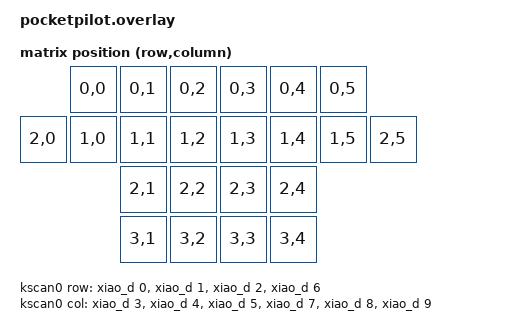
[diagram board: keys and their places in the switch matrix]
#include <dt-bindings/zmk/matrix_transform.h>
#include "pocketpilot-layouts.dtsi"

/ {
    chosen {
        zmk,physical-layout = &pocketpilot_physical_layout;
    };
};

/ {

    kscan0: kscan_matrix {
        compatible = "zmk,kscan-matrix";
        wakeup-source;
        diode-direction = "col2row";
        col-gpios
            = <&xiao_d 3 GPIO_ACTIVE_HIGH> // 0
            , <&xiao_d 4 GPIO_ACTIVE_HIGH> // 1
	    , <&xiao_d 5 GPIO_ACTIVE_HIGH> // 2
	    , <&xiao_d 7 GPIO_ACTIVE_HIGH> // 3
	    , <&xiao_d 8 GPIO_ACTIVE_HIGH> // 4
	    , <&xiao_d 9 GPIO_ACTIVE_HIGH> // 5
            ;
        row-gpios
            = <&xiao_d 0 (GPIO_ACTIVE_HIGH | GPIO_PULL_DOWN)> // 0
            , <&xiao_d 1 (GPIO_ACTIVE_HIGH | GPIO_PULL_DOWN)> // 1
            , <&xiao_d 2 (GPIO_ACTIVE_HIGH | GPIO_PULL_DOWN)> // 2
            , <&xiao_d 6 (GPIO_ACTIVE_HIGH | GPIO_PULL_DOWN)> // 3
            ;
    };
};



/ {
    default_transform: keymap_transform0 {
        compatible = "zmk,matrix-transform";
        columns = <10>; // Length of the "col-gpios" array
        rows = <4>; // Length of the "row-gpios" array
        map = <
                    RC(0,0) RC(0,1) RC(0,2) RC(0,3) RC(0,4) RC(0,5) 
	    RC(2,0) RC(1,0) RC(1,1) RC(1,2) RC(1,3) RC(1,4) RC(1,5) RC(2,5) 
	    		    RC(2,1) RC(2,2) RC(2,3) RC(2,4) 
    	    		    RC(3,1) RC(3,2) RC(3,3) RC(3,4) 
        >;
    };
};
